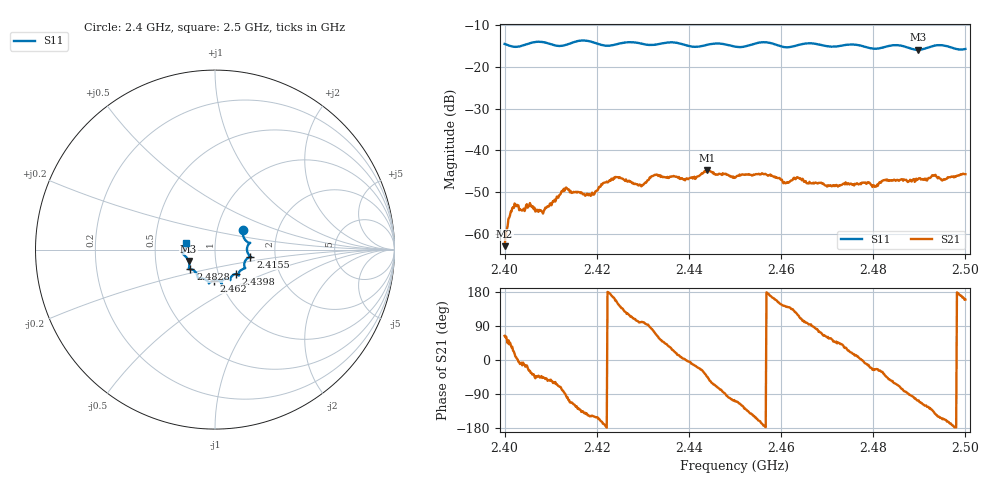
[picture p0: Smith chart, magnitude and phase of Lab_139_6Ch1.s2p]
# Hz S RI R 50
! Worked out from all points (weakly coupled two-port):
!   601 points, 2.4 GHz to 2.5 GHz, reference 50 ohm
!   highest |S21| = -44.77 dB at 2.444 GHz (marker M1); lowest = -63.0 dB at 2.4 GHz (marker M2)
!   lowest |S11| = -15.9 dB at 2.4897 GHz (marker M3), VSWR 1.38, Z = 36.9 - j4.82 ohm
!   |S11| at or under -10 dB: start of sweep to end of sweep
!   S12 and S22 are empty: the file has one direction only
!   S11 on the Smith chart (normalised r, x): 2.4 GHz: 1.33, +0.29; 2.4155 GHz: 1.49, -0.12; 2.4398 GHz: 1.21, -0.34; 2.462 GHz: 0.93, -0.33; 2.4828 GHz: 0.74, -0.17; 2.5 GHz: 0.72, +0.06
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2.4e9  0.1552 0.1065  0.000313 0.000635  0 0  0 0
2.401167e9  0.1552 0.0882  0.00115 0.0012  0 0  0 0
2.402167e9  0.1584 0.0716  0.00221 0.000657  0 0  0 0
2.408167e9  0.1951 0.0374  0.00123 -0.00134  0 0  0 0
2.413e9  0.1808 -0.0144  0.000182 -0.00327  0 0  0 0
2.4155e9  0.1975 -0.0394  -0.00177 -0.00264  0 0  0 0
2.416667e9  0.2025 -0.0427  -0.00229 -0.00213  0 0  0 0
2.419e9  0.1942 -0.0419  -0.00259 -0.0017  0 0  0 0
2.424167e9  0.1629 -0.089  -0.00439 0.00187  0 0  0 0
2.4295e9  0.158 -0.1073  -0.000625 0.00375  0 0  0 0
2.433333e9  0.1309 -0.1338  0.00239 0.00429  0 0  0 0
2.439833e9  0.1154 -0.1361  0.00449 -0.000271  0 0  0 0
2.444e9  0.0854 -0.163  0.00412 -0.00405  0 0  0 0
2.45e9  0.0651 -0.1624  -0.00151 -0.00443  0 0  0 0
2.456167e9  0.0386 -0.1936  -0.00514 -0.000628  0 0  0 0
2.462e9  -0.00495 -0.1727  -0.00317 0.00285  0 0  0 0
2.466667e9  -0.0342 -0.1881  9e-06 0.00401  0 0  0 0
2.480167e9  -0.1111 -0.1222  0.0034 -0.0017  0 0  0 0
2.482833e9  -0.1366 -0.1092  0.00311 -0.00303  0 0  0 0
2.483333e9  -0.1404 -0.109  0.00277 -0.0034  0 0  0 0
2.489667e9  -0.147 -0.0636  -0.00129 -0.00428  0 0  0 0
2.5e9  -0.1593 0.039  -0.00484 0.0018  0 0  0 0
